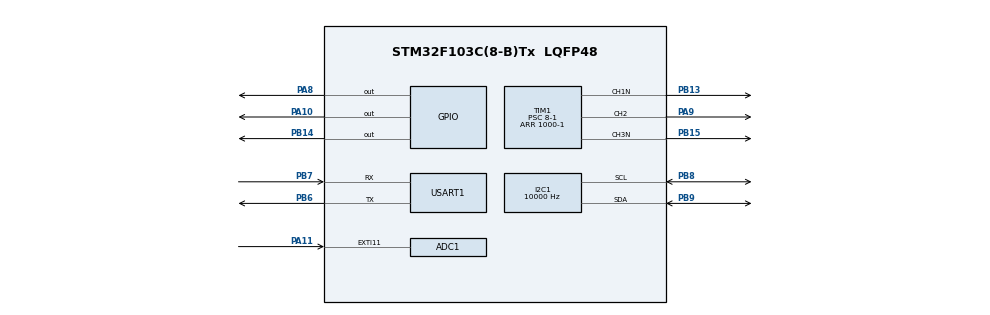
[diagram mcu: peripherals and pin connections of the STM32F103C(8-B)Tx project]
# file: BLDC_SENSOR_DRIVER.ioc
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ADC1.Channel-4\#ChannelRegularConversion=ADC_CHANNEL_VREFINT
ADC1.NbrOfConversionFlag=1
ADC1.Rank-4\#ChannelRegularConversion=1
ADC1.SamplingTime-4\#ChannelRegularConversion=ADC_SAMPLETIME_1CYCLE_5
ADC1.master=1
I2C1.ClockSpeed=10000
Mcu.Family=STM32F1
Mcu.Name=STM32F103C(8-B)Tx
Mcu.Package=LQFP48
NVIC.PriorityGroup=NVIC_PRIORITYGROUP_4
NVIC.TIM2_IRQn=true\:14\:0\:true\:false\:true\:true\:true\:true
NVIC.USART1_IRQn=true\:0\:0\:true\:false\:true\:true\:true\:true
PA10.Signal=GPIO_Output
PA11.Signal=GPXTI11
PA13.Mode=Serial_Wire
PA13.Signal=SYS_JTMS-SWDIO
PA14.Mode=Serial_Wire
PA14.Signal=SYS_JTCK-SWCLK
PA8.Signal=GPIO_Output
PA9.Signal=S_TIM1_CH2
PB13.Mode=PWM Generation1 CH1N
PB13.Signal=TIM1_CH1N
PB14.Signal=GPIO_Output
PB15.Mode=PWM Generation3 CH3N
PB15.Signal=TIM1_CH3N
PB6.Mode=Asynchronous
PB6.Signal=USART1_TX
PB7.Mode=Asynchronous
PB7.Signal=USART1_RX
PB8.Mode=I2C
PB8.Signal=I2C1_SCL
PB9.Mode=I2C
PB9.Signal=I2C1_SDA
ProjectManager.HeapSize=0x200
ProjectManager.StackSize=0x400
ProjectManager.TargetToolchain=STM32CubeIDE
RCC.APB1Freq_Value=8000000
RCC.APB2Freq_Value=8000000
SH.S_TIM1_CH2.0=TIM1_CH2,PWM Generation2 CH2
TIM1.Channel-PWM\ Generation1\ CH1N=TIM_CHANNEL_1
TIM1.Channel-PWM\ Generation2\ CH2=TIM_CHANNEL_2
TIM1.Channel-PWM\ Generation3\ CH3N=TIM_CHANNEL_3
TIM1.Period=1000-1
TIM1.Prescaler=8-1
TIM2.Period=1000-1
TIM2.Prescaler=240-1
USART1.VirtualMode=VM_ASYNC
VP_ADC1_Vref_Input.Mode=IN-Vrefint
VP_TIM2_VS_ClockSourceINT.Mode=Internal
board=custom

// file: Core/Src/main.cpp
/* USER CODE BEGIN Header */
/**
  ******************************************************************************
  * @file           : main.c
  * @brief          : Main program body
  ******************************************************************************
  * @attention
  *
  * Copyright (c) 2022 STMicroelectronics.
  * All rights reserved.
  *
  * This software is licensed under terms that can be found in the LICENSE file
  * in the root directory of this software component.
  * If no LICENSE file comes with this software, it is provided AS-IS.
  *
  ******************************************************************************
  */
/* USER CODE END Header */
#include "main.h"

/* USER CODE BEGIN Includes */
#include "string.h"
#include "stdio.h"
#include "bldc_driver.h"
#include "magnetic_sensor.hpp"
/* USER CODE END Includes */

/* USER CODE BEGIN PTD */
//UP:
int		angle_data[68] = {2005, 1993, 2024, 2048, 2059, 2064, 2053, 2031, 1998, 1947,
		  	  	  	  	  1895, 1853, 1849, 1858, 1871, 1876, 1877, 1852, 1811, 1758,
		  	  	  	  	  1736, 1715, 1700, 1702, 1722, 1651, 1838, 1811, 1769, 1723,
		  	  	  	  	  1672, 1628, 1588, 1570, 1577, 1583, 1584, 1575, 1562, 1539,
						  1492, 1468, 1460, 1447, 1429, 1411, 1390, 1366, 1355, 1227,
						  1242, 1256, 1265, 1273, 1274, 1248, 1207, 1153, 1088, 1036,
						  1015, 1008, 1009, 1014, 1015, 1011, 1007, 997};
//int		angle_data[10] = {2005, 2005, 2005, 2005, 2005, 2005, 2005, 2005, 2005, 2005};
//DOWN:
//int		angle_data[68] = {2141, 2223, 2226, 2240, 2254, 2288, 2336, 2385, 2433, 2487,
//						  2515, 2504, 2467, 2417, 2360, 2319, 2276, 2249, 2242, 2268,
//						  2299, 2339, 2392, 2431, 2462, 2433, 2689, 2678, 2668, 2645,
//                          2622, 2598, 2576, 2595, 2639, 2688, 2739, 2799, 2861, 2926,
//                          3006, 3014, 2982, 2938, 2898, 2861, 2827, 2787, 2772, 2852,
//                          2893, 2936, 2980, 3033, 3080, 3141, 3188, 3227, 3255, 3255,
//						  3236, 3194, 3151, 3107, 3071, 3028, 2983, 2942};
int		index_ = 0;
#define _PWM_RANGE 999

uint8_t AS5600_ADDR = 0x36 << 1;
uint8_t	RAWANG_H	= 0x0C;
uint8_t RAWANG_L	= 0x0D;
uint8_t ANGLE_H		= 0x0E;
uint8_t ANGLE_L		= 0x0F;
uint8_t DMA_I2C_DATA[2];
uint8_t buf[12];
uint8_t rx_data;
uint8_t	rx_flag		= 0;
uint8_t count;

float 	angle_el   	= 0;
int		Desired_Angle;
bool	flag	   	= false;
int		direction	= 0;
/* USER CODE END PTD */

ADC_HandleTypeDef hadc1;

I2C_HandleTypeDef hi2c1;

TIM_HandleTypeDef htim1;
TIM_HandleTypeDef htim2;

UART_HandleTypeDef huart1;

void SystemClock_Config(void);
static void MX_GPIO_Init(void);
static void MX_I2C1_Init(void);
static void MX_USART1_UART_Init(void);
static void MX_TIM1_Init(void);
static void MX_TIM2_Init(void);
static void MX_ADC1_Init(void);

/* USER CODE BEGIN 0 */
AS5600 as5600(hi2c1, huart1);

void HAL_UART_RxCpltCallback(UART_HandleTypeDef *huart) {
	if (huart->Instance == USART1) {
//		if(rx_flag==0)
//		{
//			HAL_UART_Transmit(&huart1, &rx_data, 1, 10);
//			Desired_Angle 	= int(rx_data-'0')*100;
//			flag			= false;
//			rx_flag = 1;
//		}
//		else if(rx_flag==1)
//		{
//			Desired_Angle  += int(rx_data-'0')*10;
//			flag			= false;
//			rx_flag = 2;
//		}
//		else
//		{
//			Desired_Angle  += int(rx_data-'0');
//			flag			= true;
//			if((Desired_Angle-as5600.Current_Angle)>0){direction = -1;}
//			else{direction = 1;}
//			rx_flag = 0;
//		}

		if(rx_data == '0'){
			HAL_UART_Transmit(&huart1, &rx_data, 1, 10);
			flag = true;
			Desired_Angle = angle_data[index_];
			//UP:
			if((Desired_Angle-as5600.Current_Angle)>0){direction = -1;}
			else{direction = 1;}
			//DOWN:
//			if((Desired_Angle-as5600.Current_Angle)>0){direction = 1;}
//			else{direction = -1;}
			index_++;
			if(index_>68)
			{
				direction = 0;
				flag = false;
			}
//				  as5600.GetStatus();
//				  as5600.GetAngle();
		}
		HAL_UART_Receive_IT(&huart1, &rx_data, 1);

	}
}
void HAL_TIM_PeriodElapsedCallback(TIM_HandleTypeDef *htim)
{
  if(htim->Instance == TIM2)
  {

  }
}

void _writeDutyCyclePWM(float dc_a, float dc_b, float dc_c)
{
	 TIM1->CCR1 = (int)(dc_a * _PWM_RANGE);
	 TIM1->CCR3 = (int)(dc_b * _PWM_RANGE);
	 TIM1->CCR2 = (int)(dc_c * _PWM_RANGE);
}
/* USER CODE END 0 */

int main(void)
{

  /* MCU Configuration--------------------------------------------------------*/

  /* Reset of all peripherals, Initializes the Flash interface and the Systick. */
  HAL_Init();

  /* Configure the system clock */
  SystemClock_Config();

  /* Initialize all configured peripherals */
  MX_GPIO_Init();
  MX_I2C1_Init();
  MX_USART1_UART_Init();
  MX_TIM1_Init();
  MX_TIM2_Init();
  MX_ADC1_Init();
  /* USER CODE BEGIN 2 */
  HAL_UART_Receive_IT(&huart1, &rx_data, 1);
//  HAL_TIM_Base_Start_IT(&htim2);

  HAL_TIMEx_PWMN_Start(&htim1, 	TIM_CHANNEL_1);
  HAL_TIM_PWM_Start(&htim1, 		TIM_CHANNEL_2);
  HAL_TIMEx_PWMN_Start(&htim1, 	TIM_CHANNEL_3);

  HAL_GPIO_WritePin(GPIOB, GPIO_PIN_14, GPIO_PIN_SET);
  HAL_GPIO_WritePin(GPIOA, GPIO_PIN_8, GPIO_PIN_SET);
  HAL_GPIO_WritePin(GPIOA, GPIO_PIN_10, GPIO_PIN_SET);
  /* USER CODE END 2 */

  /* Infinite loop */
  /* USER CODE BEGIN WHILE */
  while (1)
  {
//	  as5600.GetStatus();
//	  as5600.GetAngle();
//	  as5600.GetVelocity();
	  //Velocity:
	  /*
		  int Delta_Velocity = 10;// - as5600.Current_Velocity;

		  float _ca, _sa, Ualpha, Ubeta;
		  float Ua, Ub, Uc;

		  angle_el = angle_el + 0.01;// Delta_Velocity*1000*as5600.Ts;
		  if(angle_el > _2_PI){angle_el = 0;}

		  _ca = _cos(angle_el);
		  _sa = _sin(angle_el);
		  Ualpha =  - _sa*0.5;
		  Ubeta  =    _ca*0.5;

		  Ua = Ualpha/2 + 0.5;
		  Ub = (-0.5 * Ualpha  + _SQRT3_2 * Ubeta)/2+0.5;
		  Uc = (-0.5 * Ualpha - _SQRT3_2 * Ubeta)/2+0.5;
		  _writeDutyCyclePWM(Ua, Ub, Uc);
		  count++;
		  HAL_Delay(1);
		  */

	  //Position:

	  as5600.GetAngle();
	  if(flag)
	  {
		  if(as5600.Current_Angle >= Desired_Angle-2 && as5600.Current_Angle <= Desired_Angle+2)
		  {
//			  float _ca, _sa, Ualpha, Ubeta;
//			  float Ua, Ub, Uc;
//
//			  _ca = _cos(angle_el);
//			  _sa = _sin(angle_el);
//			  Ualpha =  - _sa*0.5;
//			  Ubeta  =    _ca*0.5;
//
//			  Ua = Ualpha/2 + 0.5;
//			  Ub = (-0.5 * Ualpha  + _SQRT3_2 * Ubeta)/2+0.5;
//			  Uc = (-0.5 * Ualpha - _SQRT3_2 * Ubeta)/2+0.5;
//			  _writeDutyCyclePWM(Ua, Ub, Uc);
			  uint8_t Test[] = "1";
			  HAL_UART_Transmit(&huart1,Test,sizeof(Test),10);
			  flag = false;
		  }
		  else
		  {
			  float _ca, _sa, Ualpha, Ubeta;
			  float Ua, Ub, Uc;

			  angle_el = angle_el + _PI_180*direction;// Delta_Velocity*1000*as5600.Ts;
			  if(angle_el > _2_PI){angle_el = 0;}
			  else if(angle_el < 0){angle_el = _2_PI;}

			  _ca = _cos(angle_el);
			  _sa = _sin(angle_el);
			  Ualpha =  - _sa*0.5;
			  Ubeta  =    _ca*0.5;

			  Ua = Ualpha/2 + 0.5;
			  Ub = (-0.5 * Ualpha  + _SQRT3_2 * Ubeta)/2+0.5;
			  Uc = (-0.5 * Ualpha - _SQRT3_2 * Ubeta)/2+0.5;
			  _writeDutyCyclePWM(Ua, Ub, Uc);

		  }
	  }

    /* USER CODE END WHILE */

  }
}

void SystemClock_Config(void)
{
  RCC_OscInitTypeDef RCC_OscInitStruct = {0};
  RCC_ClkInitTypeDef RCC_ClkInitStruct = {0};
  RCC_PeriphCLKInitTypeDef PeriphClkInit = {0};

  /** Initializes the RCC Oscillators according to the specified parameters
  * in the RCC_OscInitTypeDef structure.
  */
  RCC_OscInitStruct.OscillatorType = RCC_OSCILLATORTYPE_HSI;
  RCC_OscInitStruct.HSIState = RCC_HSI_ON;
  RCC_OscInitStruct.HSICalibrationValue = RCC_HSICALIBRATION_DEFAULT;
  RCC_OscInitStruct.PLL.PLLState = RCC_PLL_NONE;
  if (HAL_RCC_OscConfig(&RCC_OscInitStruct) != HAL_OK)
  {
    Error_Handler();
  }

  /** Initializes the CPU, AHB and APB buses clocks
  */
  RCC_ClkInitStruct.ClockType = RCC_CLOCKTYPE_HCLK|RCC_CLOCKTYPE_SYSCLK
                              |RCC_CLOCKTYPE_PCLK1|RCC_CLOCKTYPE_PCLK2;
  RCC_ClkInitStruct.SYSCLKSource = RCC_SYSCLKSOURCE_HSI;
  RCC_ClkInitStruct.AHBCLKDivider = RCC_SYSCLK_DIV1;
  RCC_ClkInitStruct.APB1CLKDivider = RCC_HCLK_DIV1;
  RCC_ClkInitStruct.APB2CLKDivider = RCC_HCLK_DIV1;

  if (HAL_RCC_ClockConfig(&RCC_ClkInitStruct, FLASH_LATENCY_0) != HAL_OK)
  {
    Error_Handler();
  }
  PeriphClkInit.PeriphClockSelection = RCC_PERIPHCLK_ADC;
  PeriphClkInit.AdcClockSelection = RCC_ADCPCLK2_DIV2;
  if (HAL_RCCEx_PeriphCLKConfig(&PeriphClkInit) != HAL_OK)
  {
    Error_Handler();
  }
}

static void MX_ADC1_Init(void)
{

  ADC_ChannelConfTypeDef sConfig = {0};

  /** Common config
  */
  hadc1.Instance = ADC1;
  hadc1.Init.ScanConvMode = ADC_SCAN_DISABLE;
  hadc1.Init.ContinuousConvMode = DISABLE;
  hadc1.Init.DiscontinuousConvMode = DISABLE;
  hadc1.Init.ExternalTrigConv = ADC_EXTERNALTRIGCONV_EXT_IT11;
  hadc1.Init.DataAlign = ADC_DATAALIGN_RIGHT;
  hadc1.Init.NbrOfConversion = 1;
  if (HAL_ADC_Init(&hadc1) != HAL_OK)
  {
    Error_Handler();
  }

  /** Configure Regular Channel
  */
  sConfig.Channel = ADC_CHANNEL_VREFINT;
  sConfig.Rank = ADC_REGULAR_RANK_1;
  sConfig.SamplingTime = ADC_SAMPLETIME_1CYCLE_5;
  if (HAL_ADC_ConfigChannel(&hadc1, &sConfig) != HAL_OK)
  {
    Error_Handler();
  }

}

static void MX_I2C1_Init(void)
{

  hi2c1.Instance = I2C1;
  hi2c1.Init.ClockSpeed = 10000;
  hi2c1.Init.DutyCycle = I2C_DUTYCYCLE_2;
  hi2c1.Init.OwnAddress1 = 0;
  hi2c1.Init.AddressingMode = I2C_ADDRESSINGMODE_7BIT;
  hi2c1.Init.DualAddressMode = I2C_DUALADDRESS_DISABLE;
  hi2c1.Init.OwnAddress2 = 0;
  hi2c1.Init.GeneralCallMode = I2C_GENERALCALL_DISABLE;
  hi2c1.Init.NoStretchMode = I2C_NOSTRETCH_DISABLE;
  if (HAL_I2C_Init(&hi2c1) != HAL_OK)
  {
    Error_Handler();
  }

}

static void MX_TIM1_Init(void)
{

  TIM_MasterConfigTypeDef sMasterConfig = {0};
  TIM_OC_InitTypeDef sConfigOC = {0};
  TIM_BreakDeadTimeConfigTypeDef sBreakDeadTimeConfig = {0};

  htim1.Instance = TIM1;
  htim1.Init.Prescaler = 4-1;
  htim1.Init.CounterMode = TIM_COUNTERMODE_UP;
  htim1.Init.Period = 1000-1;
  htim1.Init.ClockDivision = TIM_CLOCKDIVISION_DIV1;
  htim1.Init.RepetitionCounter = 0;
  htim1.Init.AutoReloadPreload = TIM_AUTORELOAD_PRELOAD_DISABLE;
  if (HAL_TIM_PWM_Init(&htim1) != HAL_OK)
  {
    Error_Handler();
  }
  sMasterConfig.MasterOutputTrigger = TIM_TRGO_RESET;
  sMasterConfig.MasterSlaveMode = TIM_MASTERSLAVEMODE_DISABLE;
  if (HAL_TIMEx_MasterConfigSynchronization(&htim1, &sMasterConfig) != HAL_OK)
  {
    Error_Handler();
  }
  sConfigOC.OCMode = TIM_OCMODE_PWM1;
  sConfigOC.Pulse = 0;
  sConfigOC.OCPolarity = TIM_OCPOLARITY_HIGH;
  sConfigOC.OCNPolarity = TIM_OCNPOLARITY_HIGH;
  sConfigOC.OCFastMode = TIM_OCFAST_DISABLE;
  sConfigOC.OCIdleState = TIM_OCIDLESTATE_RESET;
  sConfigOC.OCNIdleState = TIM_OCNIDLESTATE_RESET;
  if (HAL_TIM_PWM_ConfigChannel(&htim1, &sConfigOC, TIM_CHANNEL_1) != HAL_OK)
  {
    Error_Handler();
  }
  if (HAL_TIM_PWM_ConfigChannel(&htim1, &sConfigOC, TIM_CHANNEL_2) != HAL_OK)
  {
    Error_Handler();
  }
  if (HAL_TIM_PWM_ConfigChannel(&htim1, &sConfigOC, TIM_CHANNEL_3) != HAL_OK)
  {
    Error_Handler();
  }
  sBreakDeadTimeConfig.OffStateRunMode = TIM_OSSR_DISABLE;
  sBreakDeadTimeConfig.OffStateIDLEMode = TIM_OSSI_DISABLE;
  sBreakDeadTimeConfig.LockLevel = TIM_LOCKLEVEL_OFF;
  sBreakDeadTimeConfig.DeadTime = 0;
  sBreakDeadTimeConfig.BreakState = TIM_BREAK_DISABLE;
  sBreakDeadTimeConfig.BreakPolarity = TIM_BREAKPOLARITY_HIGH;
  sBreakDeadTimeConfig.AutomaticOutput = TIM_AUTOMATICOUTPUT_DISABLE;
  if (HAL_TIMEx_ConfigBreakDeadTime(&htim1, &sBreakDeadTimeConfig) != HAL_OK)
  {
    Error_Handler();
  }
  HAL_TIM_MspPostInit(&htim1);

}

static void MX_TIM2_Init(void)
{

  TIM_ClockConfigTypeDef sClockSourceConfig = {0};
  TIM_MasterConfigTypeDef sMasterConfig = {0};

  htim2.Instance = TIM2;
  htim2.Init.Prescaler = 240-1;
  htim2.Init.CounterMode = TIM_COUNTERMODE_UP;
  htim2.Init.Period = 1000-1;
  htim2.Init.ClockDivision = TIM_CLOCKDIVISION_DIV1;
  htim2.Init.AutoReloadPreload = TIM_AUTORELOAD_PRELOAD_DISABLE;
  if (HAL_TIM_Base_Init(&htim2) != HAL_OK)
  {
    Error_Handler();
  }
  sClockSourceConfig.ClockSource = TIM_CLOCKSOURCE_INTERNAL;
  if (HAL_TIM_ConfigClockSource(&htim2, &sClockSourceConfig) != HAL_OK)
  {
    Error_Handler();
  }
  sMasterConfig.MasterOutputTrigger = TIM_TRGO_RESET;
  sMasterConfig.MasterSlaveMode = TIM_MASTERSLAVEMODE_DISABLE;
  if (HAL_TIMEx_MasterConfigSynchronization(&htim2, &sMasterConfig) != HAL_OK)
  {
    Error_Handler();
  }

}

static void MX_USART1_UART_Init(void)
{

  huart1.Instance = USART1;
  huart1.Init.BaudRate = 115200;
  huart1.Init.WordLength = UART_WORDLENGTH_8B;
  huart1.Init.StopBits = UART_STOPBITS_1;
  huart1.Init.Parity = UART_PARITY_NONE;
  huart1.Init.Mode = UART_MODE_TX_RX;
  huart1.Init.HwFlowCtl = UART_HWCONTROL_NONE;
  huart1.Init.OverSampling = UART_OVERSAMPLING_16;
  if (HAL_UART_Init(&huart1) != HAL_OK)
  {
    Error_Handler();
  }

}

static void MX_GPIO_Init(void)
{
  GPIO_InitTypeDef GPIO_InitStruct = {0};

  /* GPIO Ports Clock Enable */
  __HAL_RCC_GPIOB_CLK_ENABLE();
  __HAL_RCC_GPIOA_CLK_ENABLE();

  /*Configure GPIO pin Output Level */
  HAL_GPIO_WritePin(GPIOB, GPIO_PIN_14, GPIO_PIN_RESET);

  /*Configure GPIO pin Output Level */
  HAL_GPIO_WritePin(GPIOA, GPIO_PIN_8|GPIO_PIN_10, GPIO_PIN_RESET);

  /*Configure GPIO pin : PB14 */
  GPIO_InitStruct.Pin = GPIO_PIN_14;
  GPIO_InitStruct.Mode = GPIO_MODE_OUTPUT_PP;
  GPIO_InitStruct.Pull = GPIO_NOPULL;
  GPIO_InitStruct.Speed = GPIO_SPEED_FREQ_LOW;
  HAL_GPIO_Init(GPIOB, &GPIO_InitStruct);

  /*Configure GPIO pins : PA8 PA10 */
  GPIO_InitStruct.Pin = GPIO_PIN_8|GPIO_PIN_10;
  GPIO_InitStruct.Mode = GPIO_MODE_OUTPUT_PP;
  GPIO_InitStruct.Pull = GPIO_NOPULL;
  GPIO_InitStruct.Speed = GPIO_SPEED_FREQ_LOW;
  HAL_GPIO_Init(GPIOA, &GPIO_InitStruct);

  /*Configure GPIO pin : PA11 */
  GPIO_InitStruct.Pin = GPIO_PIN_11;
  GPIO_InitStruct.Mode = GPIO_MODE_IT_RISING;
  GPIO_InitStruct.Pull = GPIO_NOPULL;
  HAL_GPIO_Init(GPIOA, &GPIO_InitStruct);

}

void Error_Handler(void)
{
  __disable_irq();
  while (1)
  {
  }
}
